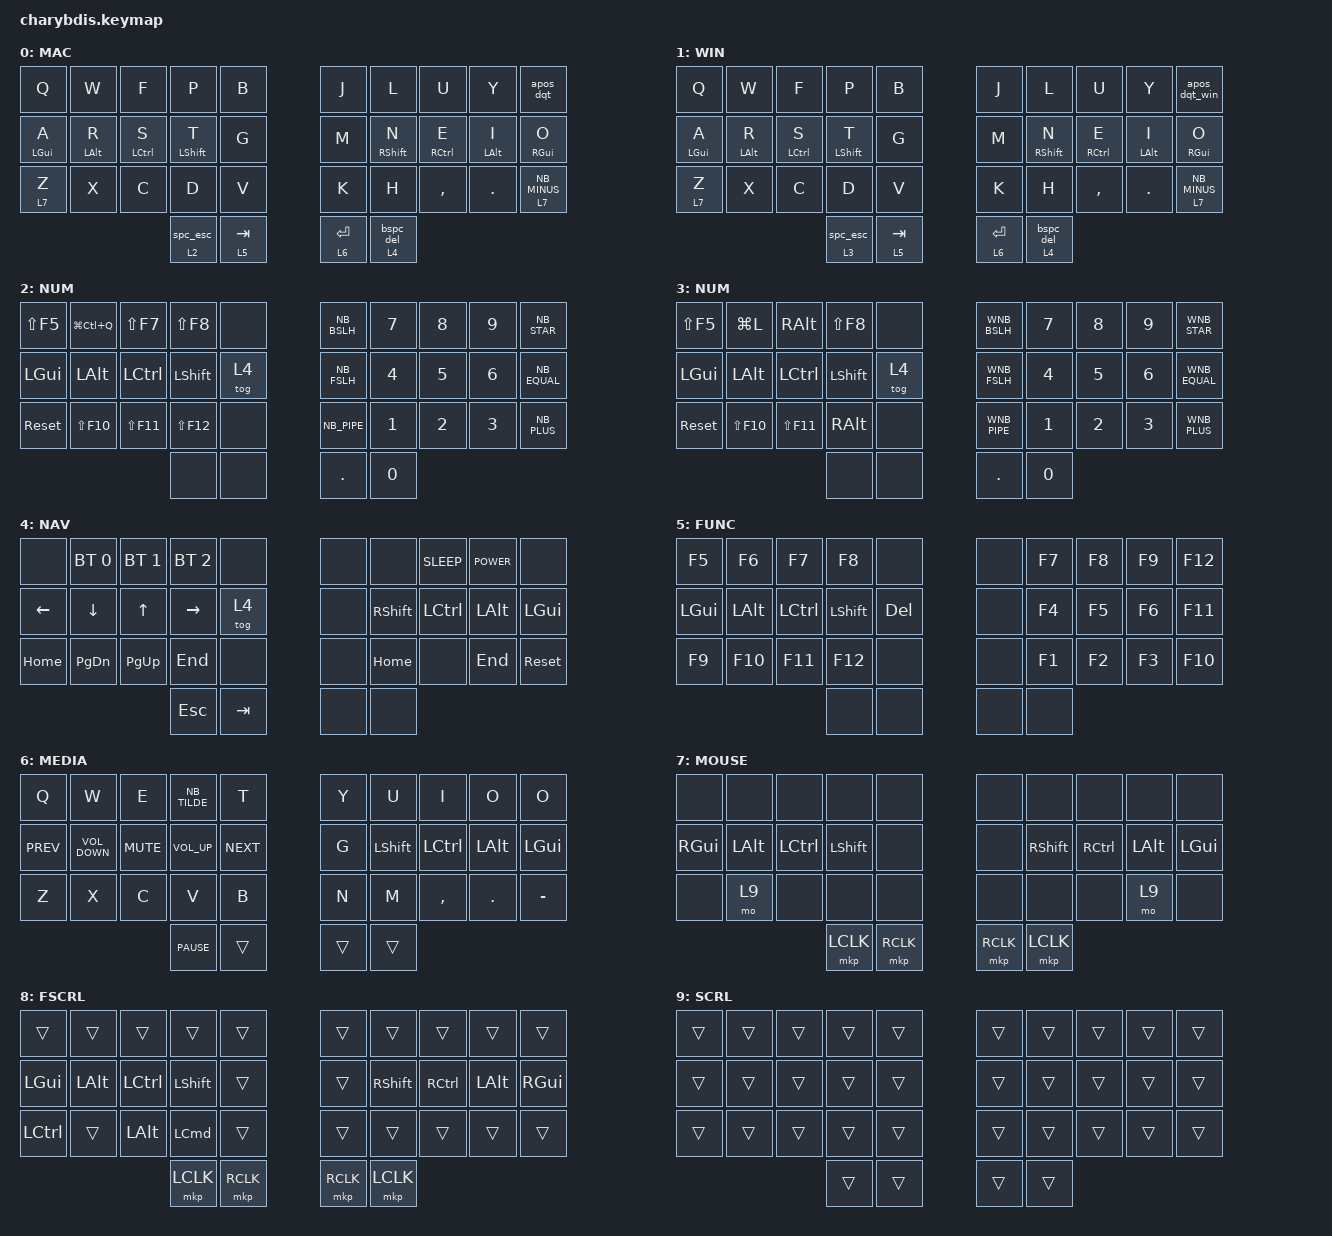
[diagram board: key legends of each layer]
#include "keys_nb_osx.h"
#include "keys_nb_win.h"
#include <behaviors.dtsi>
#include <dt-bindings/zmk/bt.h>
#include <dt-bindings/zmk/keys.h>
#include <dt-bindings/zmk/pointing.h>

#define WIN 1
#define SYMBOLS 2
#define NUMBERS 3
#define NAV 4
#define FUNCTION 5
#define BLUETOOTH 6
#define MOUSE 7
#define CLICK 8
#define SCRL 9
#define BIRO 10

&caps_word { continue-list = <NB_UNDERSCORE NB_MINUS WNB_UNDERSCORE WNB_MINUS BACKSPACE DEL>; };

// Change sticky key defaults

&sk {
    release-after-ms = <2000>;
    quick-release;
};

&lt { quick-tap-ms = <175>; };

/ {
    chosen { zmk,matrix_transform = &five_column_transform; };
};

/ {
    combos {
        compatible = "zmk,combos";

        combo_ques {
            timeout-ms = <35>;
            key-positions = <7 6>;
            bindings = <&ques_excl>;
        };

        aa {
            timeout-ms = <35>;
            bindings = <&kp LEFT_BRACKET>;
            key-positions = <26 27>;
        };

        ae {
            timeout-ms = <35>;
            bindings = <&kp APOS>;
            key-positions = <3 2>;
        };

        oe {
            timeout-ms = <35>;
            bindings = <&kp SEMI>;
            key-positions = <23 22>;
        };

        combo_paras {
            timeout-ms = <35>;
            require-prior-idle-ms = <150>;
            bindings = <&paras>;
            key-positions = <27 28>;
        };

        combo_squares {
            timeout-ms = <35>;
            require-prior-idle-ms = <150>;
            bindings = <&squares>;
            key-positions = <7 8>;
        };

        combo-curles {
            timeout-ms = <35>;
            require-prior-idle-ms = <150>;
            bindings = <&curles>;
            key-positions = <2 1>;
            layers = <0>;
        };

        combo-curles_win {
            timeout-ms = <35>;
            require-prior-idle-ms = <150>;
            bindings = <&curles_win>;
            key-positions = <2 1>;
            layers = <1>;
        };

        combo_crocs {
            timeout-ms = <35>;
            require-prior-idle-ms = <150>;
            bindings = <&kp NB_LT>;
            key-positions = <22 21>;
            layers = <0>;
        };

        combo_crocs_win {
            timeout-ms = <35>;
            require-prior-idle-ms = <150>;
            bindings = <&kp WNB_LT>;
            key-positions = <22 21>;
            layers = <1>;
        };

        combo_at {
            timeout-ms = <35>;
            require-prior-idle-ms = <150>;
            bindings = <&kp NB_AT>;
            key-positions = <2 7>;
            layers = <0>;
        };

        win_at {
            timeout-ms = <35>;
            require-prior-idle-ms = <150>;
            bindings = <&kp WNB_AT_SIGN>;
            key-positions = <2 7>;
            layers = <1>;
        };

        caps_word_combo {
            timeout-ms = <35>;
            require-prior-idle-ms = <150>;
            bindings = <&caps_word>;
            key-positions = <11 18>;
        };

        amp_combo {
            timeout-ms = <35>;
            require-prior-idle-ms = <150>;
            bindings = <&kp NB_AMPS>;
            key-positions = <13 16>;
        };

        grave_combo {
            timeout-ms = <35>;
            require-prior-idle-ms = <150>;
            bindings = <&kp NB_GRAVE>;
            key-positions = <1 8>;
            layers = <0>;
        };

        grave_combo_win {
            timeout-ms = <35>;
            require-prior-idle-ms = <150>;
            bindings = <&kp WNB_GRAVE>;
            key-positions = <1 8>;
            layers = <1>;
        };

        dollar_combo {
            timeout-ms = <35>;
            require-prior-idle-ms = <150>;
            bindings = <&kp NB_DLLR>;
            key-positions = <12 17>;
            layers = <0>;
        };

        percent_combo {
            timeout-ms = <35>;
            require-prior-idle-ms = <150>;
            bindings = <&kp NB_PRCNT>;
            key-positions = <3 13>;
        };

        hash_combo {
            timeout-ms = <35>;
            require-prior-idle-ms = <150>;
            bindings = <&kp NB_HASH>;
            key-positions = <23 26>;
        };

        pipe_mac {
            timeout-ms = <35>;
            require-prior-idle-ms = <150>;
            bindings = <&kp NB_PIPE>;
            key-positions = <7 17>;
            layers = <0>;
        };

        pipe_win {
            timeout-ms = <35>;
            require-prior-idle-ms = <150>;
            bindings = <&kp WNB_PIPE>;
            key-positions = <7 17>;
            layers = <1>;
        };

        bslh_mac {
            timeout-ms = <35>;
            require-prior-idle-ms = <150>;
            bindings = <&kp NB_BSLH>;
            key-positions = <8 18>;
            layers = <0>;
        };

        bslh_win {
            timeout-ms = <35>;
            require-prior-idle-ms = <150>;
            bindings = <&kp WNB_BSLH>;
            key-positions = <8 18>;
            layers = <1>;
        };

        fslh_combo {
            timeout-ms = <35>;
            require-prior-idle-ms = <150>;
            bindings = <&kp NB_FSLH>;
            key-positions = <2 12>;
        };

        dollar_win {
            timeout-ms = <35>;
            require-prior-idle-ms = <150>;
            bindings = <&kp WNB_DLLR>;
            key-positions = <12 17>;
            layers = <1>;
        };

        pnd_mac {
            timeout-ms = <35>;
            require-prior-idle-ms = <150>;
            bindings = <&kp NB_POUND_SIGN>;
            key-positions = <3 6>;
            layers = <0>;
        };

        pnd_win {
            timeout-ms = <35>;
            require-prior-idle-ms = <150>;
            bindings = <&kp WNB_POUND_SIGN>;
            key-positions = <3 6>;
            layers = <1>;
        };

        tilde_combo {
            timeout-ms = <35>;
            require-prior-idle-ms = <150>;
            bindings = <&kp WNB_TILDE>;
            key-positions = <1 11>;
        };

        caret_mac {
            timeout-ms = <35>;
            require-prior-idle-ms = <150>;
            bindings = <&kp WNB_CARET>;
            key-positions = <6 16>;
        };

        win_def {
            timeout-ms = <35>;
            require-prior-idle-ms = <150>;
            bindings = <&tog 1>;
            key-positions = <30 33>;
        };

        btn1_r {
            timeout-ms = <35>;
            require-prior-idle-ms = <150>;
            bindings = <&mkp MB1>;
            key-positions = <16 26>;
        };

        mb2_r {
            timeout-ms = <35>;
            require-prior-idle-ms = <150>;
            bindings = <&mkp MB2>;
            key-positions = <17 27>;
        };

        scrl_r {
            timeout-ms = <35>;
            require-prior-idle-ms = <150>;
            bindings = <&mo 9>;
            key-positions = <18 28>;
        };

        thumb_esc {
            timeout-ms = <35>;
            require-prior-idle-ms = <150>;
            bindings = <&kp ESCAPE>;
            key-positions = <30 31>;
        };

        thumb_bspc {
            timeout-ms = <50>;
            bindings = <&bspc_del>;
            key-positions = <33 32>;
        };

        boot_loader {
            timeout-ms = <35>;
            require-prior-idle-ms = <150>;
            bindings = <&bootloader>;
            key-positions = <29 19>;
        };

        btn_1_l {
            bindings = <&mkp MB1>;
            key-positions = <13 23>;
            timeout-ms = <35>;
            require-prior-idle-ms = <150>;
        };

        btn2_l {
            bindings = <&mkp MB2>;
            key-positions = <12 22>;
            timeout-ms = <35>;
            require-prior-idle-ms = <150>;
        };

        scrl_l {
            bindings = <&mo 9>;
            key-positions = <11 21>;
            timeout-ms = <35>;
            require-prior-idle-ms = <150>;
        };

        bootloader_left {
            bindings = <&bootloader>;
            key-positions = <10 20>;
            timeout-ms = <35>;
            require-prior-idle-ms = <150>;
        };

        reset_left {
            bindings = <&kp C_RESET>;
            key-positions = <0 10>;
        };

        right_reset {
            bindings = <&kp C_RESET>;
            key-positions = <9 19>;
        };
    };
};

/ {
    behaviors {
        hml: hml {
            compatible = "zmk,behavior-hold-tap";
            #binding-cells = <2>;
            flavor = "balanced";
            tapping-term-ms = <280>;
            quick-tap-ms = <175>;                // repeat on tap-into-hold
            bindings = <&kp>, <&kp>;

            hold-trigger-key-positions = <5 6 7 8 9 15 16 17 18 19 25 26 27 28 29 33 34 31 32>;
            hold-trigger-on-release;
        };

        hmr: hmr {
            compatible = "zmk,behavior-hold-tap";
            #binding-cells = <2>;
            flavor = "balanced";
            tapping-term-ms = <280>;
            quick-tap-ms = <175>;                // repeat on tap-into-hold
            bindings = <&kp>, <&kp>;

            hold-trigger-key-positions = <0 1 2 3 4 10 11 12 13 14 20 21 22 23 24 30 31 32 34 33>;
            hold-trigger-on-release;
        };

        lsscw: layer_sticky_shift_caps_word {
            compatible = "zmk,behavior-hold-tap";
            #binding-cells = <2>;
            flavor = "balanced";
            tapping-term-ms = <200>;
            bindings = <&mo>, <&sscw>;
        };

        tt: toggle_layer_tap {
            compatible = "zmk,behavior-hold-tap";
            #binding-cells = <2>;
            tapping-term-ms = <250>;
            flavor = "tap-preferred";
            bindings = <&kp>, <&tog>;
        };

        blt: balanced_layer_tap {
            compatible = "zmk,behavior-hold-tap";
            #binding-cells = <2>;
            tapping-term-ms = <160>;
            quick-tap-ms = <0>;
            flavor = "balanced";
            bindings = <&mo>, <&kp>;
        };

        repeat_encoder: repeat_encoder {
            compatible = "zmk,behavior-sensor-rotate";
            #sensor-binding-cells = <0>;
            bindings = <&kp BSPC>, <&key_repeat>;
        };

        tsl: behavior_trackball_scroll {
            compatible = "zmk,behavior-point-device-incremental";
            #trackball-binding-cells = <0>;
            mode = "scroll-mode";
            flavor = "default";
            scale_mode = "dividor";
            scale_factor = <4>;
            smoothing;
        };

        tkp_fast: behavior_trackball_key_press {
            compatible = "zmk,behavior-point-device-directional";
            #trackball-binding-cells = <4>;
            mode = "distance-mode";
            flavor = "2-dim";
            step_size = <50>;
        };

        lt_bspc: layer_tap_bspc_del {
            compatible = "zmk,behavior-hold-tap";
            #binding-cells = <2>;
            bindings = <&mo>, <&bspc_del>;

            tapping-term-ms = <200>;
            quick-tap-ms = <175>;
        };

        shift_layer: shift_layer {
            compatible = "zmk,behavior-hold-tap";
            #binding-cells = <2>;
            bindings = <&mo>, <&sk>;

            tapping-term-ms = <200>;
            flavor = "hold-preferred";
            quick-tap-ms = <100>;
        };

        lt_spcesc: layer_tap_space_esc {
            compatible = "zmk,behavior-hold-tap";
            #binding-cells = <2>;
            bindings = <&mo>, <&spc_esc>;

            tapping-term-ms = <200>;
            quick-tap-ms = <175>;
        };

        apos_dqt: quot_doublequot {
            compatible = "zmk,behavior-mod-morph";
            #binding-cells = <0>;
            bindings = <&kp NB_SINGLE_QUOTE>, <&kp NB_DQT>;

            mods = <(MOD_LSFT|MOD_RSFT)>;
        };

        apos_dqt_win: quot_doublequot_win {
            compatible = "zmk,behavior-mod-morph";
            #binding-cells = <0>;
            bindings = <&kp WNB_APOS>, <&kp WNB_DQT>;

            mods = <(MOD_LSFT|MOD_RSFT)>;
        };

        sscw: sticky_shift_caps_word {
            compatible = "zmk,behavior-mod-morph";
            #binding-cells = <0>;
            bindings = <&sk LSHIFT>, <&caps_word>;

            mods = <(MOD_LSFT|MOD_RSFT)>;
        };

        ques_excl: questionmark_exlamation_mark {
            compatible = "zmk,behavior-mod-morph";
            #binding-cells = <0>;
            bindings = <&kp NB_QMARK>, <&kp NB_EXCL>;

            mods = <(MOD_LSFT|MOD_RSFT)>;
        };

        paras: paras {
            compatible = "zmk,behavior-mod-morph";
            bindings = <&kp NB_LPAR>, <&kp NB_RPAR>;

            #binding-cells = <0>;
            mods = <(MOD_LSFT)>;
        };

        squares: squares {
            compatible = "zmk,behavior-mod-morph";
            bindings = <&kp WNB_LBKT>, <&kp WNB_RBKT>;

            #binding-cells = <0>;
            mods = <(MOD_LSFT)>;
        };

        curles: curles {
            compatible = "zmk,behavior-mod-morph";
            bindings = <&kp NB_LBRC>, <&kp NB_RBRC>;

            #binding-cells = <0>;
            mods = <(MOD_RSFT)>;
        };

        curles_win: curles_win {
            compatible = "zmk,behavior-mod-morph";
            bindings = <&kp WNB_LBRC>, <&kp WNB_RBRC>;

            #binding-cells = <0>;
            mods = <(MOD_RSFT)>;
        };

        crocs: crocs {
            compatible = "zmk,behavior-mod-morph";
            bindings = <&kp NB_GT>, <&kp NB_LT>;

            #binding-cells = <0>;
            mods = <(MOD_RSFT)>;
        };

        shift_space: shift_space {
            compatible = "zmk,behavior-mod-morph";
            bindings = <&kp SPACE>, <&kp ESC>;

            #binding-cells = <0>;
            mods = <(MOD_RSFT)>;
        };

        bspc_del: backspace_delete {
            compatible = "zmk,behavior-mod-morph";
            #binding-cells = <0>;
            bindings = <&kp BACKSPACE>, <&kp DELETE>;

            mods = <(MOD_LSFT|MOD_RSFT)>;
            keep-mods = <(MOD_RSFT)>;
        };

        spc_esc: spc_esc {
            compatible = "zmk,behavior-mod-morph";
            bindings = <&kp SPACE>, <&kp ESC>;

            #binding-cells = <0>;
            mods = <(MOD_RSFT)>;
            keep-mods = <(MOD_RSFT)>;
        };

        hml_shift: hml_shift {
            compatible = "zmk,behavior-hold-tap";
            #binding-cells = <2>;
            flavor = "balanced";
            tapping-term-ms = <200>;
            quick-tap-ms = <175>;
            bindings = <&kp>, <&kp>;

            hold-trigger-key-positions = <5 6 7 8 9 15 16 17 18 19 25 26 27 28 29 33 34 31 32>;
            hold-trigger-on-release;
            label = "HML_SHIFT";
        };

        hmr_shift: hmr_shift {
            compatible = "zmk,behavior-hold-tap";
            #binding-cells = <2>;
            flavor = "balanced";
            tapping-term-ms = <200>;
            quick-tap-ms = <175>;
            bindings = <&kp>, <&kp>;

            hold-trigger-key-positions = <0 1 2 3 4 10 11 12 13 14 20 21 22 23 24 30 31 32 34 33>;
            hold-trigger-on-release;
            label = "HMR_SHIFT";
        };
    };

    keymap {
        compatible = "zmk,keymap";

        default {
            bindings = <
  &kp Q        &kp W        &kp F         &kp P               &kp B         &kp J        &kp L                     &kp U         &kp Y        &apos_dqt
  &hml LGUI A  &hml LALT R  &hml LCTRL S  &hml_shift LSHFT T  &kp G         &kp M        &hmr_shift RIGHT_SHIFT N  &hmr RCTRL E  &hmr LALT I  &hmr RGUI O
  &lt 7 Z      &kp X        &kp C         &kp D               &kp V         &kp K        &kp H                     &kp COMMA     &kp DOT      &lt 7 NB_MINUS
                                          &lt_spcesc 2 0      &blt 5 TAB    &lt 6 ENTER  &lt_bspc 4 0
            >;

            display-name = "MAC";
            label = "MAC";
        };

        win {
            bindings = <
  &kp Q        &kp W        &kp F         &kp P           &kp B         &kp J        &kp L               &kp U         &kp Y        &apos_dqt_win
  &hml LGUI A  &hml LALT R  &hml LCTRL S  &hml LSHFT T    &kp G         &kp M        &hmr RIGHT_SHIFT N  &hmr RCTRL E  &hmr LALT I  &hmr RGUI O
  &lt 7 Z      &kp X        &kp C         &kp D           &kp V         &kp K        &kp H               &kp COMMA     &kp DOT      &lt 7 NB_MINUS
                                          &lt_spcesc 3 0  &blt 5 TAB    &lt 6 ENTER  &lt_bspc 4 0
            >;

            display-name = "WIN";
            label = "WIN";
        };

        numbers {
            bindings = <
  &kp LS(F5)    &kp LG(LC(Q))  &kp LS(F7)   &kp LS(F8)   &none     &kp NB_BSLH  &kp N7  &kp N8  &kp N9  &kp NB_STAR
  &kp LEFT_GUI  &kp LALT       &kp LCTRL    &kp LSHIFT   &tog 4    &kp NB_FSLH  &kp N4  &kp N5  &kp N6  &kp NB_EQUAL
  &sys_reset    &kp LS(F10)    &kp LS(F11)  &kp LS(F12)  &none     &kp NB_PIPE  &kp N1  &kp N2  &kp N3  &kp NB_PLUS
                                            &none        &none     &kp DOT      &kp N0
            >;

            display-name = "NUM";
            label = "NUM";
        };

        num_win {
            bindings = <
  &kp LS(F5)    &kp LG(L)    &kp RIGHT_ALT  &kp LS(F8)  &none     &kp WNB_BSLH  &kp N7  &kp N8  &kp N9  &kp WNB_STAR
  &kp LEFT_GUI  &kp LALT     &kp LCTRL      &kp LSHIFT  &tog 4    &kp WNB_FSLH  &kp N4  &kp N5  &kp N6  &kp WNB_EQUAL
  &sys_reset    &kp LS(F10)  &kp LS(F11)    &kp RALT    &none     &kp WNB_PIPE  &kp N1  &kp N2  &kp N3  &kp WNB_PLUS
                                            &none       &none     &kp DOT       &kp N0
            >;

            display-name = "NUM";
            label = "NUW";
        };

        nav {
            bindings = <
  &none     &bt BT_SEL 0  &bt BT_SEL 1  &bt BT_SEL 2  &none      &none  &none            &kp C_SLEEP  &kp C_POWER  &none
  &kp LEFT  &kp DOWN      &kp UP        &kp RIGHT     &tog 4     &none  &kp RIGHT_SHIFT  &kp LCTRL    &kp LALT     &kp LGUI
  &kp HOME  &kp PG_DN     &kp PG_UP     &kp END       &none      &none  &kp HOME         &none        &kp END      &sys_reset
                                        &kp ESC       &kp TAB    &none  &none
            >;

            display-name = "NAV";
            label = "NAV";
        };

        fn {
            bindings = <
  &kp F5    &kp F6    &kp F7     &kp F8      &none      &none  &kp F7  &kp F8  &kp F9  &kp F12
  &kp LGUI  &kp LALT  &kp LCTRL  &kp LSHIFT  &kp DEL    &none  &kp F4  &kp F5  &kp F6  &kp F11
  &kp F9    &kp F10   &kp F11    &kp F12     &none      &none  &kp F1  &kp F2  &kp F3  &kp F10
                                 &none       &none      &none  &none
            >;

            display-name = "FUNC";
            label = "FUN";
        };

        controls {
            bindings = <
  &kp Q       &kp W              &kp E       &kp NB_TILDE     &kp T         &kp Y   &kp U      &kp I      &kp O     &kp O
  &kp C_PREV  &kp C_VOLUME_DOWN  &kp C_MUTE  &kp C_VOLUME_UP  &kp C_NEXT    &kp G   &kp LSHFT  &kp LCTRL  &kp LALT  &kp LEFT_GUI
  &kp Z       &kp X              &kp C       &kp V            &kp B         &kp N   &kp M      &kp COMMA  &kp DOT   &kp MINUS
                                             &kp C_PAUSE      &trans        &trans  &trans
            >;

            display-name = "MEDIA";
            label = "MED";
        };

        mouse {
            bindings = <
  &none          &none         &none      &none           &none        &none      &none            &none      &none         &none
  &kp RIGHT_GUI  &kp LEFT_ALT  &kp LCTRL  &kp LEFT_SHIFT  &none        &none      &kp RIGHT_SHIFT  &kp RCTRL  &kp LEFT_ALT  &kp LEFT_GUI
  &none          &mo 9         &none      &none           &none        &none      &none            &none      &mo 9         &none
                                          &mkp LCLK       &mkp RCLK    &mkp RCLK  &mkp LCLK
            >;

            display-name = "MOUSE";
            label = "MOUS";
        };

        FULL_SCROLL {
            bindings = <
  &trans     &trans    &trans     &trans      &trans       &trans     &trans           &trans     &trans    &trans
  &kp LGUI   &kp LALT  &kp LCTRL  &kp LSHIFT  &trans       &trans     &kp RIGHT_SHIFT  &kp RCTRL  &kp LALT  &kp RGUI
  &kp LCTRL  &trans    &kp LALT   &kp LCMD    &trans       &trans     &trans           &trans     &trans    &trans
                                  &mkp LCLK   &mkp RCLK    &mkp RCLK  &mkp LCLK
            >;

            display-name = "FSCRL";
            label = "SCR";
        };

        scrolly_moly {
            bindings = <
  &trans  &trans  &trans  &trans  &trans    &trans  &trans  &trans  &trans  &trans
  &trans  &trans  &trans  &trans  &trans    &trans  &trans  &trans  &trans  &trans
  &trans  &trans  &trans  &trans  &trans    &trans  &trans  &trans  &trans  &trans
                          &trans  &trans    &trans  &trans
            >;

            display-name = "SCRL";
            label = "DRG";
        };
    };
};
